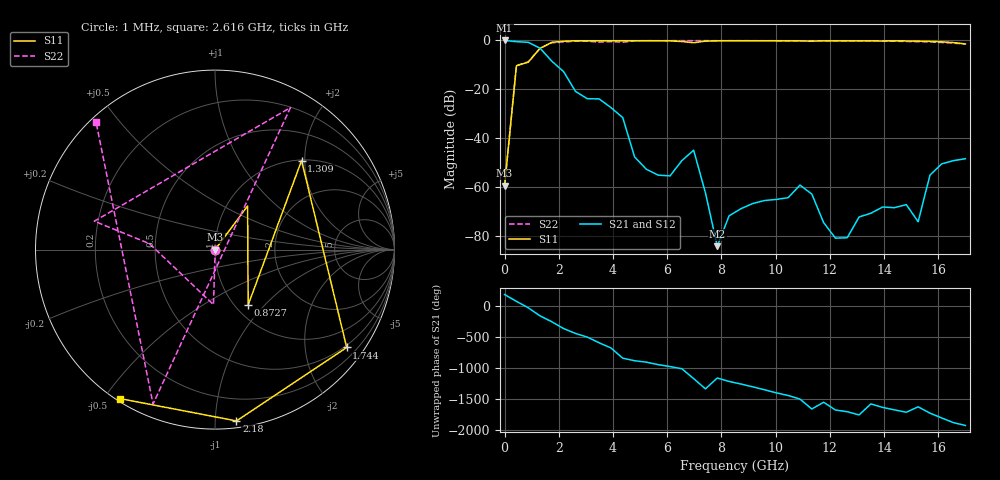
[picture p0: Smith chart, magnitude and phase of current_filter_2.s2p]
# GHz S RI R 50
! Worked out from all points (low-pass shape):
!   40 points, 1 MHz to 17 GHz, reference 50 ohm
!   highest |S21| = -0.01 dB at 1 MHz (marker M1); lowest = -84.0 dB at 7.847 GHz (marker M2)
!   |S21| within 3 dB of the highest: start of sweep to 1.279 GHz
!   lowest |S11| = -59.3 dB at 1 MHz (marker M3), VSWR 1.00, Z = 50.1 + j0.0325 ohm
!   |S11| at or under -10 dB: start of sweep to 541.9 MHz
!   |S22| runs from -59.3 to -0.1 dB; largest |S21 - S12| = 2.2e-13
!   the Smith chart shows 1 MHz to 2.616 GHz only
!   S11 on the Smith chart (normalised r, x): 1 MHz: 1.00, +0.00; 872.7 MHz: 1.15, -0.81; 1.309 GHz: 1.01, +1.93; 1.744 GHz: 0.45, -2.96; 2.18 GHz: 0.04, -1.13; 2.616 GHz: 0.01, -0.55
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0.001  0.00103 0.000324  -0.9989 0.00438  -0.9989 0.00438  0.00104 0.000323
0.4368718  0.1817 0.2432  0.3043 0.8926  0.3043 0.8926  -0.0086 -0.3066
0.8727436  0.1847 -0.3084  0.7702 -0.4944  0.7702 -0.4944  -0.3652 0.0333
1.308615  0.4823 0.4959  -0.6624 -0.207  -0.6624 -0.207  -0.6722 0.1581
1.744487  0.7337 -0.5453  -0.0842 0.3667  -0.0842 0.3667  0.4202 0.7911
2.180359  0.1195 -0.9545  0.2282 -0.0262  0.2282 -0.0262  -0.3452 -0.8602
2.616231  -0.5296 -0.83  0.00924 -0.0903  0.00924 -0.0903  -0.6623 0.7084
3.052103  -0.908 -0.384  -0.0515 -0.039  -0.0515 -0.039  0.5942 0.758
3.487974  -0.9762 0.1335  -0.0377 0.0516  -0.0377 0.0516  -0.1788 -0.9045
3.923846  -0.8038 0.5709  0.0312 0.0289  0.0312 0.0289  -0.4835 0.8123
4.359718  -0.4934 0.8537  -0.0136 -0.0227  -0.0136 -0.0227  -0.8856 0.2421
4.79559  -0.132 0.9779  -0.00397 -0.00132  -0.00397 -0.00132  -0.0955 0.9771
5.667333  0.5227 0.8347  -0.00127 0.00124  -0.00127 0.00124  0.632 0.759
6.974949  0.7889 0.4281  0.000182 -0.00573  0.000182 -0.00573  0.9765 0.1535
7.846692  0.9629 0.201  1.26e-05 -6.15e-05  1.26e-05 -6.15e-05  0.9622 -0.2241
8.718436  0.9517 -0.2575  -0.000364 -2.92e-05  -0.000364 -2.92e-05  0.825 -0.5423
11.33367  0.301 -0.9198  -0.000595 0.000421  -0.000595 0.000421  -0.0426 -0.9829
12.20541  -0.0143 -0.9831  -5.65e-05 7.18e-05  -5.65e-05 7.18e-05  -0.4087 -0.8931
14.38477  -0.7588 -0.6179  -0.00025 0.000291  -0.00025 0.000291  -0.959 0.1046
15.25651  -0.944 -0.2122  -0.000198 2.53e-06  -0.000198 2.53e-06  -0.6768 0.6554
15.69238  -0.9542 0.0527  0.000364 0.00173  0.000364 0.00173  -0.3906 0.8473
17  -0.3015 0.7922  -0.0019 -0.00334  -0.0019 -0.00334  0.554 0.6431
